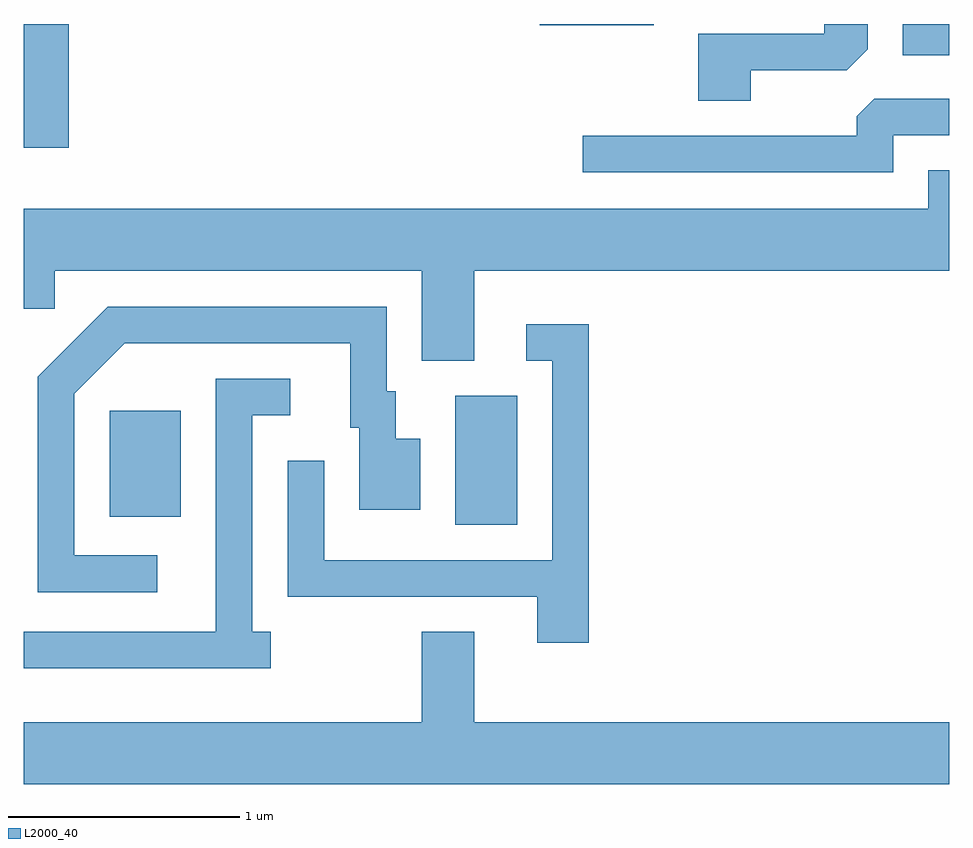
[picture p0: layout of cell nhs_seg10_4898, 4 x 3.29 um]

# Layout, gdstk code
import gdstk
lib = gdstk.Library(unit=1e-6, precision=1e-09)
def R(c, l, rs):  # rectangles x0, y0, x1, y1
    for r in rs: c.add(gdstk.rectangle(r[:2], r[2:], *l))
def P(c, l, *ps):  # polygons
    for p in ps: c.add(gdstk.Polygon(p, *l))
L2000_40 = (2000, 40)

nhs_seg10_4898 = lib.new_cell('nhs_seg10_4898')
R(nhs_seg10_4898, L2000_40, [(331.476,2128.356,331.744,2128.914), (329.981,2128.391,330.289,2128.849), (329.611,2129.986,329.804,2130.522), (333.411,2130.386,333.611,2130.522), (331.841,2130.516,332.334,2130.522)])
P(nhs_seg10_4898, L2000_40, [(332.754,2130.321),(333.169,2130.321),(333.259,2130.412),(333.259,2130.522),(333.071,2130.522),(333.071,2130.479),(332.526,2130.479),(332.526,2130.191),(332.754,2130.191)],
  [(333.369,2130.041),(333.611,2130.041),(333.611,2130.199),(333.287,2130.199),(333.211,2130.124),(333.211,2130.039),(332.028,2130.039),(332.028,2129.881),(333.369,2129.881)],
  [(331.559,2129.456),(333.611,2129.456),(333.611,2129.889),(333.521,2129.889),(333.521,2129.724),(329.611,2129.724),(329.611,2129.291),(329.744,2129.291),(329.744,2129.456),(331.331,2129.456),(331.331,2129.066),(331.559,2129.066)],
  [(330.188,2128.224),(329.829,2128.224),(329.829,2128.924),(330.047,2129.141),(331.021,2129.141),(331.021,2128.776),(331.061,2128.776),(331.061,2128.421),(331.324,2128.421),(331.324,2128.729),(331.219,2128.729),(331.219,2128.934),(331.179,2128.934),(331.179,2129.299),(329.974,2129.299),(329.671,2128.997),(329.671,2128.066),(330.188,2128.066)],
  [(332.054,2129.224),(331.783,2129.224),(331.783,2129.066),(331.896,2129.066),(331.896,2128.204),(330.909,2128.204),(330.909,2128.633),(330.751,2128.633),(330.751,2128.046),(331.831,2128.046),(331.831,2127.846),(332.054,2127.846)],
  [(330.678,2127.894),(330.599,2127.894),(330.599,2128.831),(330.763,2128.831),(330.763,2128.989),(330.441,2128.989),(330.441,2127.894),(329.612,2127.894),(329.611,2127.895),(329.611,2127.736),(330.678,2127.736)],
  [(333.611,2127.504),(331.559,2127.504),(331.559,2127.894),(331.331,2127.894),(331.331,2127.504),(329.611,2127.504),(329.611,2127.236),(333.611,2127.236)])

lib.write_gds('nhs_seg10_4898.gds')
